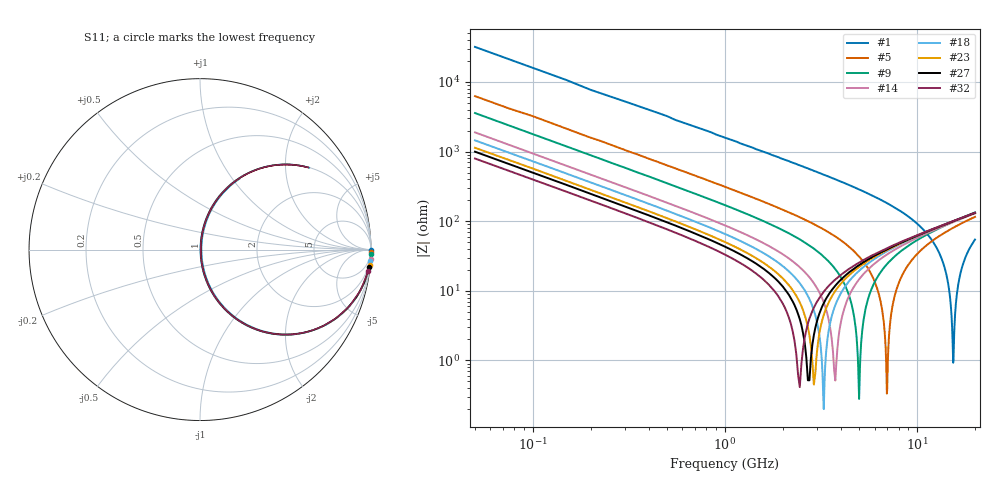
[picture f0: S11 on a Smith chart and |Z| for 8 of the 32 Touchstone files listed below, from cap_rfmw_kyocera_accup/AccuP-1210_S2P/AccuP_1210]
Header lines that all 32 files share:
! AVX Thin Film Operation		Date: April 2012
! Description: Accu-P® Series, Thin Film, SMD, RF Capacitor
!	Serial	Measurements
#	MHZ	S	MA	R	50
!	S11	S21	S12	S22
!	dB	Phase	dB	Phase	dB	Phase	dB	Phase
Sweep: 50 MHz to 20 GHz
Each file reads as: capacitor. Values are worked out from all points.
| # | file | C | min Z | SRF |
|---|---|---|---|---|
| 1 | C1210SE0r1.s2p | 102 fF | 927 mohm | 15.41 GHz |
| 2 | C1210SE0r2.s2p | 199 fF | 794 mohm | 10.9 GHz |
| 3 | C1210SE0r3.s2p | 299 fF | 686 mohm | 8.899 GHz |
| 4 | C1210SE0r4.s2p | 401 fF | 635 mohm | 7.707 GHz |
| 5 | C1210SE0r5.s2p | 500 fF | 334 mohm | 6.966 GHz |
| 6 | C1210SE0r6.s2p | 599 fF | 305 mohm | 6.281 GHz |
| 7 | C1210SE0r7.s2p | 701 fF | 300 mohm | 5.815 GHz |
| 8 | C1210SE0r8.s2p | 800 fF | 326 mohm | 5.373 GHz |
| 9 | C1210SE0r9.s2p | 898 fF | 280 mohm | 4.986 GHz |
| 10 | C1210SE1r1.s2p | 1.1 pF | 520 mohm | 4.648 GHz |
| 11 | C1210SE1r3.s2p | 1.3 pF | 614 mohm | 4.275 GHz |
| 12 | C1210SE1r4.s2p | 1.4 pF | 569 mohm | 4.12 GHz |
| 13 | C1210SE1r6.s2p | 1.6 pF | 494 mohm | 3.854 GHz |
| 14 | C1210SE1r7.s2p | 1.7 pF | 514 mohm | 3.739 GHz |
| 15 | C1210SE1r9.s2p | 1.9 pF | 523 mohm | 3.536 GHz |
| 16 | C1210SE2r0.s2p | 2.2 pF | 241 mohm | 3.479 GHz |
| 17 | C1210SE2r1.s2p | 2.1 pF | 513 mohm | 3.364 GHz |
| 18 | C1210SE2r2.s2p | 2.2 pF | 200 mohm | 3.262 GHz |
| 19 | C1210SE2r3.s2p | 2.3 pF | 514 mohm | 3.214 GHz |
| 20 | C1210SE2r4.s2p | 2.4 pF | 187 mohm | 3.141 GHz |
| 21 | C1210SE2r5.s2p | 2.5 pF | 475 mohm | 3.083 GHz |
| 22 | C1210SE2r6.s2p | 2.6 pF | 518 mohm | 3.023 GHz |
| 23 | C1210SE2r8.s2p | 2.8 pF | 451 mohm | 2.913 GHz |
| 24 | C1210SE2r9.s2p | 2.9 pF | 438 mohm | 2.862 GHz |
| 25 | C1210SE3r0.s2p | 3 pF | 448 mohm | 2.814 GHz |
| 26 | C1210SE3r1.s2p | 3.1 pF | 468 mohm | 2.769 GHz |
| 27 | C1210SE3r2.s2p | 3.2 pF | 518 mohm | 2.725 GHz |
| 28 | C1210SE3r4.s2p | 3.4 pF | 405 mohm | 2.644 GHz |
| 29 | C1210SE3r5.s2p | 3.5 pF | 394 mohm | 2.606 GHz |
| 30 | C1210SE3r7.s2p | 3.7 pF | 440 mohm | 2.534 GHz |
| 31 | C1210SE3r8.s2p | 3.8 pF | 386 mohm | 2.501 GHz |
| 32 | C1210SE4r0.s2p | 4 pF | 414 mohm | 2.437 GHz |
